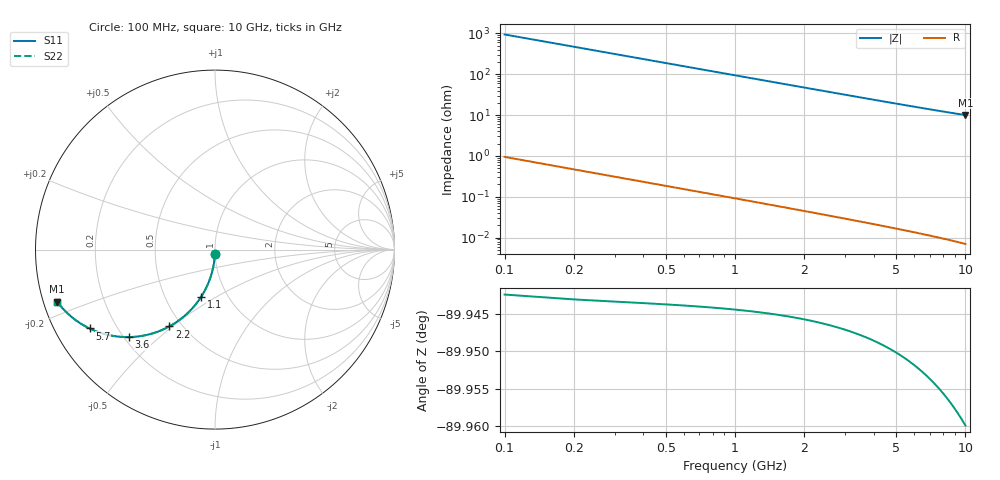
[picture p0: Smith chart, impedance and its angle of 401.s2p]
# Hz S RI R 50.00
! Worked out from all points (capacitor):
!   100 points, 100 MHz to 10 GHz, reference 50 ohm
!   read as one part in shunt: C = 1.69 pF near 100 MHz
!   lowest |Z| = 10 ohm at 10 GHz (marker M1)
!   S11 on the Smith chart (normalised r, x): 100 MHz: 1.00, -0.05; 1.1 GHz: 0.75, -0.43; 2.2 GHz: 0.43, -0.49; 3.6 GHz: 0.22, -0.40; 5.7 GHz: 0.10, -0.29; 10 GHz: 0.04, -0.16
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1e8  -0.000621 -0.0262  0.9992 -0.0268  0.9992 -0.0268  -0.000621 -0.0262
2e8  -0.00275 -0.0522  0.997 -0.0535  0.997 -0.0535  -0.00275 -0.0522
3e8  -0.00625 -0.078  0.9935 -0.08  0.9935 -0.08  -0.00625 -0.078
4e8  -0.0111 -0.1035  0.9887 -0.1061  0.9887 -0.1061  -0.0111 -0.1035
5e8  -0.0173 -0.1286  0.9825 -0.1318  0.9825 -0.1318  -0.0173 -0.1286
6e8  -0.0247 -0.1531  0.9751 -0.157  0.9751 -0.157  -0.0247 -0.1531
7e8  -0.0333 -0.1771  0.9664 -0.1816  0.9664 -0.1816  -0.0333 -0.1771
9e8  -0.0539 -0.2227  0.9458 -0.2285  0.9458 -0.2285  -0.0539 -0.2227
1.1e9  -0.0785 -0.2651  0.9213 -0.2722  0.9213 -0.2722  -0.0785 -0.2651
1.4e9  -0.1212 -0.3215  0.8785 -0.3306  0.8785 -0.3306  -0.1212 -0.3215
1.8e9  -0.1858 -0.3827  0.814 -0.3943  0.814 -0.3943  -0.1858 -0.3827
2.2e9  -0.2543 -0.4279  0.7454 -0.4421  0.7454 -0.4421  -0.2543 -0.4279
2.8e9  -0.356 -0.4693  0.6436 -0.4874  0.6436 -0.4874  -0.356 -0.4693
3.4e9  -0.4495 -0.4859  0.55 -0.508  0.55 -0.508  -0.4495 -0.4859
3.6e9  -0.4781 -0.4873  0.5214 -0.5107  0.5214 -0.5107  -0.4781 -0.4873
4.3e9  -0.5671 -0.4809  0.4323 -0.5089  0.4323 -0.5089  -0.5671 -0.4809
5.1e9  -0.649 -0.46  0.3502 -0.4933  0.3502 -0.4933  -0.649 -0.46
5.7e9  -0.6984 -0.4395  0.3006 -0.4769  0.3006 -0.4769  -0.6984 -0.4395
6.7e9  -0.7629 -0.4023  0.2359 -0.4465  0.2359 -0.4465  -0.7629 -0.4023
7.5e9  -0.802 -0.3725  0.1965 -0.4222  0.1965 -0.4222  -0.802 -0.3725
8.4e9  -0.8364 -0.3405  0.1618 -0.3966  0.1618 -0.3966  -0.8364 -0.3405
1e10  -0.8799 -0.2892  0.1175 -0.3568  0.1175 -0.3568  -0.8799 -0.2892
